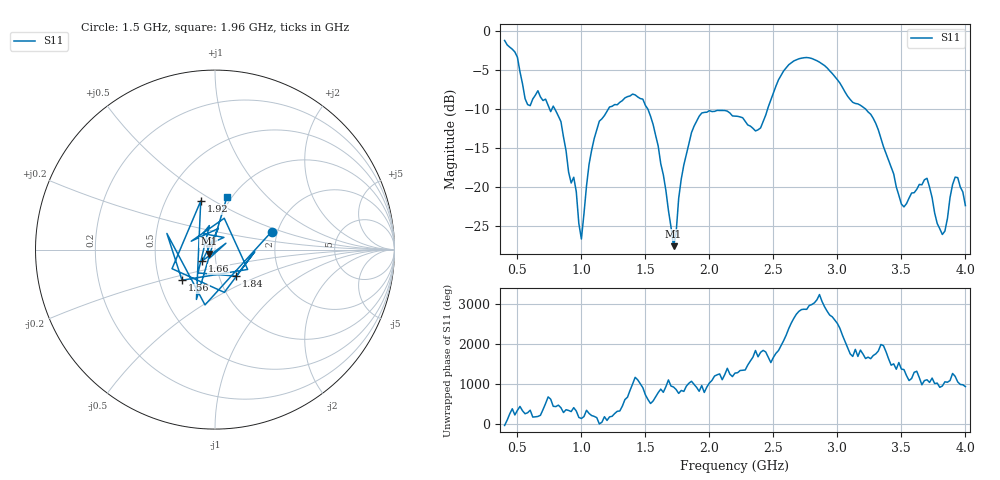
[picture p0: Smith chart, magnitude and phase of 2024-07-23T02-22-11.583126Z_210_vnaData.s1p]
!Created with skrf (http://scikit-rf.org).
# Hz S RI R 50.0
!freq ReS11 ImS11
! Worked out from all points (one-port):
!   181 points, 400 MHz to 4 GHz, reference 50 ohm
!   lowest |S11| = -27.6 dB at 1.72 GHz (marker M1), VSWR 1.09, Z = 46.6 - j2.1 ohm
!   |S11| at or under -10 dB: 790.5 MHz to 1.212 GHz (421.7 MHz wide, 42.1 % of centre); 1.517 GHz to 2.456 GHz (939.3 MHz wide, 47.3 % of centre); 3.216 GHz to end of sweep (the widest 3 of 4)
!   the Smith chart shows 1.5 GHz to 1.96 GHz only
!   S11 on the Smith chart (normalised r, x): 1.5 GHz: 1.86, +0.42; 1.56 GHz: 0.66, -0.24; 1.66 GHz: 0.86, -0.11; 1.84 GHz: 1.20, -0.37; 1.92 GHz: 0.74, +0.44; 1.96 GHz: 0.95, +0.61
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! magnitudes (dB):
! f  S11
! 400 MHz  -1.3
! 500 MHz  -3.4
! 580 MHz  -9.5
! 660 MHz  -7.7
! 860 MHz  -13.6
! 960 MHz  -20.7
! 1 GHz  -26.7
! 1.1 GHz  -13.8
! 1.3 GHz  -9.2
! 1.5 GHz  -9.6
! 1.56 GHz  -12.0
! 1.66 GHz  -20.5
! 1.72 GHz  -27.6
! 1.76 GHz  -21.5
! 1.84 GHz  -14.5
! 1.92 GHz  -11.0
! 1.96 GHz  -10.5
! 2.2 GHz  -11.0
! 2.4 GHz  -12.5
! 2.66 GHz  -3.9
! 3.1 GHz  -8.8
! 3.28 GHz  -11.2
! 3.5 GHz  -22.2
! 3.56 GHz  -21.5
! 3.7 GHz  -18.9
! 3.82 GHz  -26.1
! 3.92 GHz  -18.8
! 4 GHz  -22.4
